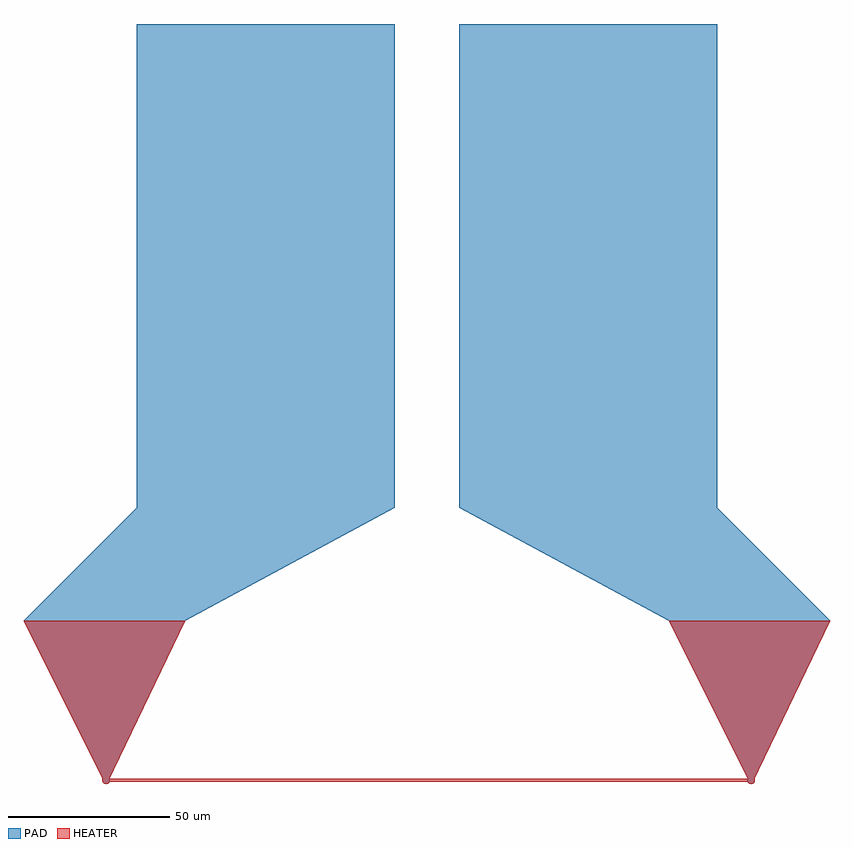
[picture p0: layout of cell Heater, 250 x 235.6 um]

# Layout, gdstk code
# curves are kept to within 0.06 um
import gdstk
lib = gdstk.Library(unit=1e-6, precision=1e-09)
def R(c, l, rs):  # rectangles x0, y0, x1, y1
    for r in rs: c.add(gdstk.rectangle(r[:2], r[2:], *l))
def P(c, l, *ps):  # polygons
    for p in ps: c.add(gdstk.Polygon(p, *l))
HEATER = (39, 0)
PAD = (41, 0)

heater = lib.new_cell('Heater')
R(heater, HEATER, [(-99.587,-141.524,100.413,-140.624)])
P(heater, HEATER, [(-99.587,-142.274),(-99.162,-142.197),(-98.711,-141.894),(-98.464,-141.498),(-98.387,-141.074),(-98.495,-140.578),(-98.767,-140.198),(-99.164,-139.951),(-99.587,-139.874),(-100.085,-139.983),(-100.463,-140.254),(-100.71,-140.649),(-100.787,-141.074),(-100.678,-141.572),(-100.407,-141.95),(-100.01,-142.197)],
  [(100.386,-142.274),(100.884,-142.165),(101.262,-141.894),(101.509,-141.498),(101.586,-141.074),(101.509,-140.649),(101.206,-140.198),(100.809,-139.951),(100.386,-139.874),(99.888,-139.983),(99.51,-140.254),(99.263,-140.649),(99.186,-141.074),(99.295,-141.572),(99.566,-141.95),(99.963,-142.197)],
  [(-100.086,-141.674),(-99.086,-141.674),(-75.086,-91.674),(-125.086,-91.674)],
  [(99.916,-141.678),(100.916,-141.678),(124.916,-91.678),(74.916,-91.678)])
R(heater, PAD, [(-90.086,-56.674,-10.086,93.326), (9.914,-56.674,89.914,93.326)])
P(heater, PAD, [(-98.387,-141.074),(-98.495,-140.578),(-98.767,-140.198),(-99.164,-139.951),(-99.587,-139.874),(-100.085,-139.983),(-100.463,-140.254),(-100.71,-140.649),(-100.787,-141.074),(-100.678,-141.572),(-100.407,-141.95),(-100.01,-142.197),(-99.587,-142.274),(-99.162,-142.197),(-98.711,-141.894),(-98.464,-141.498)],
  [(101.586,-141.074),(101.509,-140.649),(101.206,-140.198),(100.809,-139.951),(100.386,-139.874),(99.888,-139.983),(99.51,-140.254),(99.263,-140.649),(99.186,-141.074),(99.295,-141.572),(99.566,-141.95),(99.963,-142.197),(100.386,-142.274),(100.884,-142.165),(101.262,-141.894),(101.509,-141.498)],
  [(-125.086,-91.674),(-75.086,-91.674),(-10.086,-56.674),(-90.086,-56.674)],
  [(-100.086,-141.674),(-99.086,-141.674),(-75.086,-91.674),(-125.086,-91.674)],
  [(99.916,-141.678),(100.916,-141.678),(124.916,-91.678),(74.916,-91.678)],
  [(74.916,-91.678),(124.916,-91.678),(89.914,-56.674),(9.914,-56.674)])

lib.write_gds('Heater.gds')
